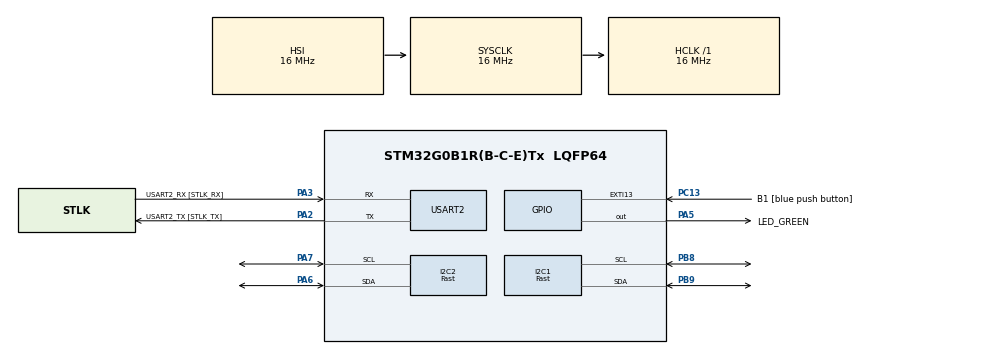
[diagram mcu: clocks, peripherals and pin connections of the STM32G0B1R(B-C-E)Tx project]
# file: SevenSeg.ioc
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I2C1.I2C_Speed_Mode=I2C_Fast
I2C1.Timing=0x00300617
I2C2.I2C_Speed_Mode=I2C_Fast
I2C2.Timing=0x00300617
Mcu.Family=STM32G0
Mcu.Name=STM32G0B1R(B-C-E)Tx
Mcu.Package=LQFP64
PA13.GPIO_Label=TMS
PA13.Mode=Serial_Wire
PA13.Signal=SYS_SWDIO
PA14-BOOT0.GPIO_Label=TCK
PA14-BOOT0.Mode=Serial_Wire
PA14-BOOT0.Signal=SYS_SWCLK
PA2.GPIO_Label=USART2_TX [STLK_TX]
PA2.Mode=Asynchronous
PA2.Signal=USART2_TX
PA3.GPIO_Label=USART2_RX [STLK_RX]
PA3.Mode=Asynchronous
PA3.Signal=USART2_RX
PA5.GPIO_Label=LED_GREEN
PA5.GPIO_Speed=GPIO_SPEED_FREQ_HIGH
PA5.Signal=GPIO_Output
PA6.Mode=I2C
PA6.Signal=I2C2_SDA
PA7.Mode=I2C
PA7.Signal=I2C2_SCL
PB8.Mode=I2C
PB8.Signal=I2C1_SCL
PB9.Mode=I2C
PB9.Signal=I2C1_SDA
PC13.GPIO_Label=B1 [blue push button]
PC13.Signal=GPXTI13
PC14-OSC32_IN\ (PC14).Mode=LSE-External-Oscillator
PC14-OSC32_IN\ (PC14).Signal=RCC_OSC32_IN
PC15-OSC32_OUT\ (PC15).Mode=LSE-External-Oscillator
PC15-OSC32_OUT\ (PC15).Signal=RCC_OSC32_OUT
PF0-OSC_IN\ (PF0).GPIO_Label=MCO
PF0-OSC_IN\ (PF0).Mode=HSE-External-Clock-Source
PF0-OSC_IN\ (PF0).Signal=RCC_OSC_IN
ProjectManager.HeapSize=0x200
ProjectManager.StackSize=0x400
ProjectManager.TargetToolchain=STM32CubeIDE
RCC.AHBFreq_Value=16000000
RCC.CortexFreq_Value=16000000
RCC.EXTERNAL_CLOCK_VALUE=12288000
RCC.HCLKFreq_Value=16000000
RCC.HSE_VALUE=8000000
RCC.HSI48_VALUE=48000000
RCC.HSI_VALUE=16000000
RCC.SYSCLKFreq_VALUE=16000000
RCC.USBFreq_Value=48000000
RCC.VCOOutputFreq_Value=128000000
USART2.VirtualMode-Asynchronous=VM_ASYNC
VP_SYS_VS_DBSignals.Mode=DisableDeadBatterySignals
board=NUCLEO-G0B1RE

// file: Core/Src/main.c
/* USER CODE BEGIN Header */
/**
 * @file    main.c
 * @brief   Seven-segment display test application for STM32G0.
 *
 * Initialises two TM1650-based 7-segment displays on I2C1 and I2C2,
 * runs a self-test sequence, then counts 0–9999 on both displays in
 * opposite directions. Debug output is streamed over USART2 at 115200 baud.
 *
 * @copyright Copyright (c) 2026 STMicroelectronics. All rights reserved.
 *            Licensed under terms found in the LICENSE file in the root directory.
 */
/* USER CODE END Header */

#include "main.h"

/* USER CODE BEGIN Includes */
#include "seven_seg.h"
#include <stdio.h>
#include <string.h>
/* USER CODE END Includes */

I2C_HandleTypeDef hi2c1;
I2C_HandleTypeDef hi2c2;

UART_HandleTypeDef huart2;

/* USER CODE BEGIN PV */
SevenSeg_Handle_t display1;  /**< Display handle bound to I2C1 */
SevenSeg_Handle_t display2;  /**< Display handle bound to I2C2 */

char uart_buffer[100];  /**< Scratch buffer for UART debug messages */
/* USER CODE END PV */

void SystemClock_Config(void);
static void MX_GPIO_Init(void);
static void MX_USART2_UART_Init(void);
static void MX_I2C1_Init(void);
static void MX_I2C2_Init(void);
/* USER CODE BEGIN PFP */
void UART_Print(const char *msg);
/* USER CODE END PFP */

/* USER CODE BEGIN 0 */

/**
 * @brief  Transmit a null-terminated string over USART2 (blocking).
 * @param  msg  String to transmit.
 */
void UART_Print(const char *msg)
{
    HAL_UART_Transmit(&huart2, (uint8_t*)msg, strlen(msg), HAL_MAX_DELAY);
}

/* USER CODE END 0 */

/**
 * @brief  Application entry point.
 * @retval int  Never returns.
 */
int main(void)
{

  /* MCU Configuration--------------------------------------------------------*/

  /* Reset of all peripherals, Initializes the Flash interface and the Systick. */
  HAL_Init();

  /* Configure the system clock */
  SystemClock_Config();

  /* Initialize all configured peripherals */
  MX_GPIO_Init();
  MX_USART2_UART_Init();
  MX_I2C1_Init();
  MX_I2C2_Init();
  /* USER CODE BEGIN 2 */

  UART_Print("\r\n===== Seven Segment Display Test =====\r\n");

    /* Initialise Display 1 on I2C1 */
    UART_Print("Initializing Display 1 (I2C1)...\r\n");
    SevenSeg_Status_t status1 = SevenSeg_Init(&display1, &hi2c1);

    if (status1 == SEVEN_SEG_OK)
    {
        UART_Print("Display 1: OK\r\n");
    }
    else
    {
        UART_Print("Display 1: FAILED!\r\n");
    }

    /* Initialise Display 2 on I2C2 */
    UART_Print("Initializing Display 2 (I2C2)...\r\n");
    SevenSeg_Status_t status2 = SevenSeg_Init(&display2, &hi2c2);

    if (status2 == SEVEN_SEG_OK)
    {
        UART_Print("Display 2: OK\r\n");
    } else
    {
        UART_Print("Display 2: FAILED!\r\n");
    }

    UART_Print("\r\nStarting display test...\r\n\r\n");

    /* Test 1: Static numbers */
    UART_Print("Test 1: Static numbers\r\n");
    SevenSeg_DisplayNumber(&display1, 1234, false);  /* "1234" on display 1 */
    SevenSeg_DisplayNumber(&display2, 5678, false);  /* "5678" on display 2 */
    HAL_Delay(3000);

    /* Test 2: Leading zeros */
    UART_Print("Test 2: Leading zeros\r\n");
    SevenSeg_DisplayNumber(&display1, 42, true);    /* "0042" on display 1 */
    SevenSeg_DisplayNumber(&display2, 7, true);     /* "0007" on display 2 */
    HAL_Delay(3000);

    /* Test 3: All segments lit (8888) */
    UART_Print("Test 3: All segments (8888)\r\n");
    SevenSeg_DisplayNumber(&display1, 8888, true);
    SevenSeg_DisplayNumber(&display2, 8888, true);
    HAL_Delay(3000);

    /* Test 4: Clear displays */
    UART_Print("Test 4: Clear displays\r\n");
    SevenSeg_Clear(&display1);
    SevenSeg_Clear(&display2);
    HAL_Delay(2000);

    /* Test 5: Power off then on */
    UART_Print("Test 5: Display OFF\r\n");
    SevenSeg_DisplayNumber(&display1, 1111, false);
    SevenSeg_DisplayNumber(&display2, 2222, false);
    HAL_Delay(1000);

    UART_Print("Turning OFF...\r\n");
    SevenSeg_DisplayOff(&display1);
    SevenSeg_DisplayOff(&display2);
    HAL_Delay(2000);

    UART_Print("Turning ON...\r\n");
    SevenSeg_DisplayOn(&display1);
    SevenSeg_DisplayOn(&display2);
    HAL_Delay(2000);

    UART_Print("\r\nTest complete! Starting counter...\r\n\r\n");

  /* USER CODE END 2 */

  /* Infinite loop */
  /* USER CODE BEGIN WHILE */
  uint16_t counter = 0;
  while (1)
  {
    /* USER CODE END WHILE */

	  /* Display counter on both displays (opposite directions) */
	      SevenSeg_DisplayNumber(&display1, counter, false);
	      SevenSeg_DisplayNumber(&display2, 9999 - counter, false);

	      /* Log to UART every 10 counts to avoid flooding the terminal */
	      if (counter % 10 == 0) {
	          sprintf(uart_buffer, "Display 1: %4d | Display 2: %4d\r\n",
	                  counter, 9999 - counter);
	          UART_Print(uart_buffer);
	      }

	      /* Increment counter, wrap at 9999 */
	      counter++;
	      if (counter > 9999) {
	          counter = 0;
	          UART_Print("\r\n--- Counter Reset ---\r\n\r\n");
	      }

	      /* Blink LED to show program is running */
	      HAL_GPIO_TogglePin(LED_GREEN_GPIO_Port, LED_GREEN_Pin);

	      HAL_Delay(100);  /* Update every 100 ms */
  }
}

/**
 * @brief  Configure system clocks.
 *
 * Source: HSI @ 16 MHz, no PLL. SYSCLK / HCLK / PCLK1 all at 16 MHz,
 * flash latency 0.
 *
 * @retval None
 */
void SystemClock_Config(void)
{
  RCC_OscInitTypeDef RCC_OscInitStruct = {0};
  RCC_ClkInitTypeDef RCC_ClkInitStruct = {0};

  /** Configure the main internal regulator output voltage
  */
  HAL_PWREx_ControlVoltageScaling(PWR_REGULATOR_VOLTAGE_SCALE1);

  /** Initializes the RCC Oscillators according to the specified parameters
  * in the RCC_OscInitTypeDef structure.
  */
  RCC_OscInitStruct.OscillatorType = RCC_OSCILLATORTYPE_HSI;
  RCC_OscInitStruct.HSIState = RCC_HSI_ON;
  RCC_OscInitStruct.HSIDiv = RCC_HSI_DIV1;
  RCC_OscInitStruct.HSICalibrationValue = RCC_HSICALIBRATION_DEFAULT;
  RCC_OscInitStruct.PLL.PLLState = RCC_PLL_NONE;
  if (HAL_RCC_OscConfig(&RCC_OscInitStruct) != HAL_OK)
  {
    Error_Handler();
  }

  /** Initializes the CPU, AHB and APB buses clocks
  */
  RCC_ClkInitStruct.ClockType = RCC_CLOCKTYPE_HCLK|RCC_CLOCKTYPE_SYSCLK
                              |RCC_CLOCKTYPE_PCLK1;
  RCC_ClkInitStruct.SYSCLKSource = RCC_SYSCLKSOURCE_HSI;
  RCC_ClkInitStruct.AHBCLKDivider = RCC_SYSCLK_DIV1;
  RCC_ClkInitStruct.APB1CLKDivider = RCC_HCLK_DIV1;

  if (HAL_RCC_ClockConfig(&RCC_ClkInitStruct, FLASH_LATENCY_0) != HAL_OK)
  {
    Error_Handler();
  }
}

/**
 * @brief  Initialise I2C1.
 *
 * Timing register 0x00300617 targets ~100 kHz standard mode on a 16 MHz HSI
 * clock. Analogue filter enabled, digital filter off.
 *
 * @retval None
 */
static void MX_I2C1_Init(void)
{

  hi2c1.Instance = I2C1;
  hi2c1.Init.Timing = 0x00300617;
  hi2c1.Init.OwnAddress1 = 0;
  hi2c1.Init.AddressingMode = I2C_ADDRESSINGMODE_7BIT;
  hi2c1.Init.DualAddressMode = I2C_DUALADDRESS_DISABLE;
  hi2c1.Init.OwnAddress2 = 0;
  hi2c1.Init.OwnAddress2Masks = I2C_OA2_NOMASK;
  hi2c1.Init.GeneralCallMode = I2C_GENERALCALL_DISABLE;
  hi2c1.Init.NoStretchMode = I2C_NOSTRETCH_DISABLE;
  if (HAL_I2C_Init(&hi2c1) != HAL_OK)
  {
    Error_Handler();
  }

  /** Configure Analogue filter
  */
  if (HAL_I2CEx_ConfigAnalogFilter(&hi2c1, I2C_ANALOGFILTER_ENABLE) != HAL_OK)
  {
    Error_Handler();
  }

  /** Configure Digital filter
  */
  if (HAL_I2CEx_ConfigDigitalFilter(&hi2c1, 0) != HAL_OK)
  {
    Error_Handler();
  }

}

/**
 * @brief  Initialise I2C2.
 *
 * Identical configuration to I2C1 — same timing, analogue filter enabled,
 * digital filter off.
 *
 * @retval None
 */
static void MX_I2C2_Init(void)
{

  hi2c2.Instance = I2C2;
  hi2c2.Init.Timing = 0x00300617;
  hi2c2.Init.OwnAddress1 = 0;
  hi2c2.Init.AddressingMode = I2C_ADDRESSINGMODE_7BIT;
  hi2c2.Init.DualAddressMode = I2C_DUALADDRESS_DISABLE;
  hi2c2.Init.OwnAddress2 = 0;
  hi2c2.Init.OwnAddress2Masks = I2C_OA2_NOMASK;
  hi2c2.Init.GeneralCallMode = I2C_GENERALCALL_DISABLE;
  hi2c2.Init.NoStretchMode = I2C_NOSTRETCH_DISABLE;
  if (HAL_I2C_Init(&hi2c2) != HAL_OK)
  {
    Error_Handler();
  }

  /** Configure Analogue filter
  */
  if (HAL_I2CEx_ConfigAnalogFilter(&hi2c2, I2C_ANALOGFILTER_ENABLE) != HAL_OK)
  {
    Error_Handler();
  }

  /** Configure Digital filter
  */
  if (HAL_I2CEx_ConfigDigitalFilter(&hi2c2, 0) != HAL_OK)
  {
    Error_Handler();
  }

}

/**
 * @brief  Initialise USART2 — 115200 8N1, no hardware flow control, FIFO off.
 * @retval None
 */
static void MX_USART2_UART_Init(void)
{

  huart2.Instance = USART2;
  huart2.Init.BaudRate = 115200;
  huart2.Init.WordLength = UART_WORDLENGTH_8B;
  huart2.Init.StopBits = UART_STOPBITS_1;
  huart2.Init.Parity = UART_PARITY_NONE;
  huart2.Init.Mode = UART_MODE_TX_RX;
  huart2.Init.HwFlowCtl = UART_HWCONTROL_NONE;
  huart2.Init.OverSampling = UART_OVERSAMPLING_16;
  huart2.Init.OneBitSampling = UART_ONE_BIT_SAMPLE_DISABLE;
  huart2.Init.ClockPrescaler = UART_PRESCALER_DIV1;
  huart2.AdvancedInit.AdvFeatureInit = UART_ADVFEATURE_NO_INIT;
  if (HAL_UART_Init(&huart2) != HAL_OK)
  {
    Error_Handler();
  }
  if (HAL_UARTEx_SetTxFifoThreshold(&huart2, UART_TXFIFO_THRESHOLD_1_8) != HAL_OK)
  {
    Error_Handler();
  }
  if (HAL_UARTEx_SetRxFifoThreshold(&huart2, UART_RXFIFO_THRESHOLD_1_8) != HAL_OK)
  {
    Error_Handler();
  }
  if (HAL_UARTEx_DisableFifoMode(&huart2) != HAL_OK)
  {
    Error_Handler();
  }

}

/**
 * @brief  Initialise GPIO pins.
 *
 * - B1  (PC13): input, rising-edge interrupt, no pull.
 * - LED (PA5):  push-pull output, high speed, initialised low.
 *
 * @retval None
 */
static void MX_GPIO_Init(void)
{
  GPIO_InitTypeDef GPIO_InitStruct = {0};

  /* GPIO Ports Clock Enable */
  __HAL_RCC_GPIOC_CLK_ENABLE();
  __HAL_RCC_GPIOF_CLK_ENABLE();
  __HAL_RCC_GPIOA_CLK_ENABLE();
  __HAL_RCC_GPIOB_CLK_ENABLE();

  /*Configure GPIO pin Output Level */
  HAL_GPIO_WritePin(LED_GREEN_GPIO_Port, LED_GREEN_Pin, GPIO_PIN_RESET);

  /*Configure GPIO pin : B1_Pin */
  GPIO_InitStruct.Pin = B1_Pin;
  GPIO_InitStruct.Mode = GPIO_MODE_IT_RISING;
  GPIO_InitStruct.Pull = GPIO_NOPULL;
  HAL_GPIO_Init(B1_GPIO_Port, &GPIO_InitStruct);

  /*Configure GPIO pin : LED_GREEN_Pin */
  GPIO_InitStruct.Pin = LED_GREEN_Pin;
  GPIO_InitStruct.Mode = GPIO_MODE_OUTPUT_PP;
  GPIO_InitStruct.Pull = GPIO_NOPULL;
  GPIO_InitStruct.Speed = GPIO_SPEED_FREQ_HIGH;
  HAL_GPIO_Init(LED_GREEN_GPIO_Port, &GPIO_InitStruct);

}

/**
 * @brief  Fatal error handler — disables interrupts and halts.
 *
 * Called by HAL on any peripheral initialisation failure. Extend this
 * function to add LED blink patterns or UART fault reporting if needed.
 *
 * @retval None
 */
void Error_Handler(void)
{
  __disable_irq();
  while (1)
  {
  }
}

#ifdef  USE_FULL_ASSERT
/**
 * @brief  assert_param failure callback.
 * @param  file  Source file where the assertion failed.
 * @param  line  Line number of the failed assertion.
 * @retval None
 */
void assert_failed(uint8_t *file, uint32_t line)
{
  /* USER CODE BEGIN 6 */
  /* User can add their own implementation to report the file name and line number,
     e.g.: printf("Wrong parameters value: file %s on line %d\r\n", file, line) */
  /* USER CODE END 6 */
}
#endif /* USE_FULL_ASSERT */
